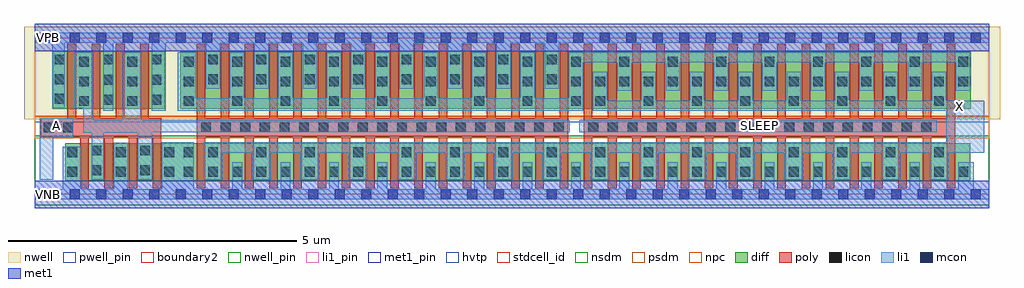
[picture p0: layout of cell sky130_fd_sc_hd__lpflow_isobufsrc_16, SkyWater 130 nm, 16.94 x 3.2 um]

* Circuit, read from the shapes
.subckt sky130_fd_sc_hd__lpflow_isobufsrc_16 A SLEEP VGND VNB VPB VPWR X
XM1 n1 A VGND VNB sky130_fd_pr__nfet_01v8 w=0.65 l=0.15 m=4
XM2 X n1 VGND VNB sky130_fd_pr__nfet_01v8 w=0.65 l=0.15 m=16
XM3 X SLEEP VGND VNB sky130_fd_pr__nfet_01v8 w=0.65 l=0.15 m=16
XM4 n1 A VPWR VPB sky130_fd_pr__pfet_01v8_hvt w=1 l=0.15 m=4
XM5 VPWR n1 n2 VPB sky130_fd_pr__pfet_01v8_hvt w=1 l=0.15 m=16
XM6 X SLEEP n2 VPB sky130_fd_pr__pfet_01v8_hvt w=1 l=0.15 m=16
.ends

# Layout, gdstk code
import gdstk
lib = gdstk.Library(unit=1e-6, precision=1e-09)
def R(c, l, rs):  # rectangles x0, y0, x1, y1
    for r in rs: c.add(gdstk.rectangle(r[:2], r[2:], *l))
def A(c, l, x, y, w, h, nx, ny, dx, dy):  # array of equal rectangles
    R(c, l, [(x+i*dx, y+j*dy, x+i*dx+w, y+j*dy+h) for i in range(nx) for j in range(ny)])
def P(c, l, *ps):  # polygons
    for p in ps: c.add(gdstk.Polygon(p, *l))
nwell_pin = (64, 16)
nwell = (64, 20)
diff = (65, 20)
poly = (66, 20)
licon = (66, 44)
li1_pin = (67, 16)
li1 = (67, 20)
mcon = (67, 44)
met1_pin = (68, 16)
met1 = (68, 20)
hvtp = (78, 44)
stdcell_id = (81, 4)
nsdm = (93, 44)
psdm = (94, 20)
npc = (95, 20)
pwell_pin = (122, 16)
boundary2 = (236, 0)

sky130_fd_sc_hd__lpflow_ = lib.new_cell('sky130_fd_sc_hd__lpflow_isobufsrc_16')
R(sky130_fd_sc_hd__lpflow_, nwell_pin, [(0.145,2.635,0.315,2.805)])
R(sky130_fd_sc_hd__lpflow_, nwell, [(-0.19,1.305,16.75,2.91)])
R(sky130_fd_sc_hd__lpflow_, diff, [(0.525,0.235,16.235,0.885), (0.305,1.485,2.255,2.485), (2.525,1.485,16.245,2.485)])
P(sky130_fd_sc_hd__lpflow_, poly, [(2.195,1.325),(1.975,1.325),(1.975,2.615),(1.825,2.615),(1.825,1.325),(1.555,1.325),(1.555,2.615),(1.405,2.615),(1.405,1.325),(1.135,1.325),(1.135,2.615),(0.985,2.615),(0.985,1.325),(0.715,1.325),(0.715,2.615),(0.565,2.615),(0.565,1.325),(0.105,1.325),(0.105,0.995),(0.785,0.995),(0.785,0.105),(0.935,0.105),(0.935,0.995),(1.205,0.995),(1.205,0.105),(1.355,0.105),(1.355,0.995),(1.625,0.995),(1.625,0.105),(1.775,0.105),(1.775,0.995),(2.045,0.995),(2.045,0.105),(2.195,0.105)],
  [(9.255,2.615),(9.105,2.615),(9.105,1.325),(8.835,1.325),(8.835,2.615),(8.685,2.615),(8.685,1.325),(8.415,1.325),(8.415,2.615),(8.265,2.615),(8.265,1.325),(7.995,1.325),(7.995,2.615),(7.845,2.615),(7.845,1.325),(7.575,1.325),(7.575,2.615),(7.425,2.615),(7.425,1.325),(7.155,1.325),(7.155,2.615),(7.005,2.615),(7.005,1.325),(6.735,1.325),(6.735,2.615),(6.585,2.615),(6.585,1.325),(6.315,1.325),(6.315,2.615),(6.165,2.615),(6.165,1.325),(5.895,1.325),(5.895,2.615),(5.745,2.615),(5.745,1.325),(5.475,1.325),(5.475,2.615),(5.325,2.615),(5.325,1.325),(5.055,1.325),(5.055,2.615),(4.905,2.615),(4.905,1.325),(4.635,1.325),(4.635,2.615),(4.485,2.615),(4.485,1.325),(4.215,1.325),(4.215,2.615),(4.065,2.615),(4.065,1.325),(3.795,1.325),(3.795,2.615),(3.645,2.615),(3.645,1.325),(3.375,1.325),(3.375,2.615),(3.225,2.615),(3.225,1.325),(2.955,1.325),(2.955,2.615),(2.805,2.615),(2.805,0.105),(2.955,0.105),(2.955,0.995),(3.225,0.995),(3.225,0.105),(3.375,0.105),(3.375,0.995),(3.645,0.995),(3.645,0.105),(3.795,0.105),(3.795,0.995),(4.065,0.995),(4.065,0.105),(4.215,0.105),(4.215,0.995),(4.485,0.995),(4.485,0.105),(4.635,0.105),(4.635,0.995),(4.905,0.995),(4.905,0.105),(5.055,0.105),(5.055,0.995),(5.325,0.995),(5.325,0.105),(5.475,0.105),(5.475,0.995),(5.745,0.995),(5.745,0.105),(5.895,0.105),(5.895,0.995),(6.165,0.995),(6.165,0.105),(6.315,0.105),(6.315,0.995),(6.585,0.995),(6.585,0.105),(6.735,0.105),(6.735,0.995),(7.005,0.995),(7.005,0.105),(7.155,0.105),(7.155,0.995),(7.425,0.995),(7.425,0.105),(7.575,0.105),(7.575,0.995),(7.845,0.995),(7.845,0.105),(7.995,0.105),(7.995,0.995),(8.265,0.995),(8.265,0.105),(8.415,0.105),(8.415,0.995),(8.685,0.995),(8.685,0.105),(8.835,0.105),(8.835,0.995),(9.105,0.995),(9.105,0.105),(9.255,0.105)],
  [(15.975,2.615),(15.825,2.615),(15.825,1.325),(15.555,1.325),(15.555,2.615),(15.405,2.615),(15.405,1.325),(15.135,1.325),(15.135,2.615),(14.985,2.615),(14.985,1.325),(14.715,1.325),(14.715,2.615),(14.565,2.615),(14.565,1.325),(14.295,1.325),(14.295,2.615),(14.145,2.615),(14.145,1.325),(13.875,1.325),(13.875,2.615),(13.725,2.615),(13.725,1.325),(13.455,1.325),(13.455,2.615),(13.305,2.615),(13.305,1.325),(13.035,1.325),(13.035,2.615),(12.885,2.615),(12.885,1.325),(12.615,1.325),(12.615,2.615),(12.465,2.615),(12.465,1.325),(12.195,1.325),(12.195,2.615),(12.045,2.615),(12.045,1.325),(11.775,1.325),(11.775,2.615),(11.625,2.615),(11.625,1.325),(11.355,1.325),(11.355,2.615),(11.205,2.615),(11.205,1.325),(10.935,1.325),(10.935,2.615),(10.785,2.615),(10.785,1.325),(10.515,1.325),(10.515,2.615),(10.365,2.615),(10.365,1.325),(10.095,1.325),(10.095,2.615),(9.945,2.615),(9.945,1.325),(9.675,1.325),(9.675,2.615),(9.525,2.615),(9.525,0.105),(9.675,0.105),(9.675,0.995),(9.945,0.995),(9.945,0.105),(10.095,0.105),(10.095,0.995),(10.365,0.995),(10.365,0.105),(10.515,0.105),(10.515,0.995),(10.785,0.995),(10.785,0.105),(10.935,0.105),(10.935,0.995),(11.205,0.995),(11.205,0.105),(11.355,0.105),(11.355,0.995),(11.625,0.995),(11.625,0.105),(11.775,0.105),(11.775,0.995),(12.045,0.995),(12.045,0.105),(12.195,0.105),(12.195,0.995),(12.465,0.995),(12.465,0.105),(12.615,0.105),(12.615,0.995),(12.885,0.995),(12.885,0.105),(13.035,0.105),(13.035,0.995),(13.305,0.995),(13.305,0.105),(13.455,0.105),(13.455,0.995),(13.725,0.995),(13.725,0.105),(13.875,0.105),(13.875,0.995),(14.145,0.995),(14.145,0.105),(14.295,0.105),(14.295,0.995),(14.565,0.995),(14.565,0.105),(14.715,0.105),(14.715,0.995),(14.985,0.995),(14.985,0.105),(15.135,0.105),(15.135,0.995),(15.405,0.995),(15.405,0.105),(15.555,0.105),(15.555,0.995),(15.825,0.995),(15.825,0.105),(15.975,0.105)])
A(sky130_fd_sc_hd__lpflow_, licon, 0.565, 0.305, 0.17, 0.17, 3, 2, 0.84, 0.34)
A(sky130_fd_sc_hd__lpflow_, licon, 2.585, 0.305, 0.17, 0.17, 33, 1, 0.42, 0)
A(sky130_fd_sc_hd__lpflow_, licon, 3.005, 0.645, 0.17, 0.17, 16, 1, 0.84, 0)
A(sky130_fd_sc_hd__lpflow_, licon, 2.885, 1.075, 0.17, 0.17, 19, 1, 0.34, 0)
A(sky130_fd_sc_hd__lpflow_, licon, 9.605, 1.075, 0.17, 0.17, 18, 1, 0.34, 0)
A(sky130_fd_sc_hd__lpflow_, licon, 0.765, 1.535, 0.17, 0.17, 1, 3, 0, 0.34)
A(sky130_fd_sc_hd__lpflow_, licon, 1.605, 1.535, 0.17, 0.17, 1, 3, 0, 0.34)
A(sky130_fd_sc_hd__lpflow_, licon, 2.585, 1.535, 0.17, 0.17, 9, 2, 0.84, 0.34)
A(sky130_fd_sc_hd__lpflow_, licon, 9.725, 1.535, 0.17, 0.17, 8, 1, 0.84, 0)
A(sky130_fd_sc_hd__lpflow_, licon, 9.725, 1.875, 0.17, 0.17, 16, 1, 0.42, 0)
A(sky130_fd_sc_hd__lpflow_, licon, 3.005, 1.915, 0.17, 0.17, 8, 2, 0.84, 0.34)
A(sky130_fd_sc_hd__lpflow_, licon, 2.585, 2.215, 0.17, 0.17, 17, 1, 0.84, 0)
A(sky130_fd_sc_hd__lpflow_, licon, 0.345, 2.255, 0.17, 0.17, 3, 1, 0.84, 0)
R(sky130_fd_sc_hd__lpflow_, licon, [(0.985,0.335,1.155,0.505), (1.825,0.335,1.995,0.505), (2.585,0.645,2.755,0.815), (0.985,0.675,1.155,0.845), (1.825,0.675,1.995,0.845), (0.155,1.075,0.325,1.245), (0.495,1.075,0.665,1.245), (1.185,1.555,1.355,1.725), (2.025,1.555,2.195,1.725), (0.345,1.575,0.515,1.745), (1.185,1.905,1.355,2.075), (2.025,1.905,2.195,2.075), (0.345,1.915,0.515,2.085)])
R(sky130_fd_sc_hd__lpflow_, li1_pin, [(0.295,1.105,0.465,1.275), (12.495,1.105,12.665,1.275), (15.97,1.445,16.14,1.615)])
R(sky130_fd_sc_hd__lpflow_, li1, [(9.45,1.075,15.65,1.285)])
P(sky130_fd_sc_hd__lpflow_, li1, [(0.665,1.325),(0.085,1.325),(0.085,0.255),(0.315,0.255),(0.315,0.995),(0.665,0.995)],
  [(9.28,1.285),(1.855,1.285),(1.855,2.465),(1.525,2.465),(1.525,1.285),(1.015,1.285),(1.015,2.465),(0.685,2.465),(0.685,1.495),(0.835,1.495),(0.835,1.065),(0.985,1.065),(0.985,0.255),(1.195,0.255),(1.195,1.065),(1.785,1.065),(1.785,0.255),(2.035,0.255),(2.035,1.075),(9.28,1.075)],
  [(16.235,2.465),(9.265,2.465),(9.265,1.665),(8.675,1.665),(8.675,2.465),(8.425,2.465),(8.425,1.665),(7.835,1.665),(7.835,2.465),(7.585,2.465),(7.585,1.665),(6.995,1.665),(6.995,2.465),(6.745,2.465),(6.745,1.665),(6.155,1.665),(6.155,2.465),(5.905,2.465),(5.905,1.665),(5.315,1.665),(5.315,2.465),(5.065,2.465),(5.065,1.665),(4.475,1.665),(4.475,2.465),(4.225,2.465),(4.225,1.665),(3.635,1.665),(3.635,2.465),(3.385,2.465),(3.385,1.665),(2.795,1.665),(2.795,2.465),(2.475,2.465),(2.475,1.455),(9.515,1.455),(9.515,2.295),(10.105,2.295),(10.105,1.795),(10.355,1.795),(10.355,2.295),(10.945,2.295),(10.945,1.795),(11.195,1.795),(11.195,2.295),(11.785,2.295),(11.785,1.795),(12.035,1.795),(12.035,2.295),(12.625,2.295),(12.625,1.795),(12.875,1.795),(12.875,2.295),(13.465,2.295),(13.465,1.795),(13.715,1.795),(13.715,2.295),(14.305,2.295),(14.305,1.795),(14.555,1.795),(14.555,2.295),(15.145,2.295),(15.145,1.795),(15.395,1.795),(15.395,2.295),(15.985,2.295),(15.985,1.795),(16.235,1.795)],
  [(16.56,2.805),(0,2.805),(0,2.635),(0.3,2.635),(0.3,1.495),(0.515,1.495),(0.515,2.635),(1.185,2.635),(1.185,1.455),(1.355,1.455),(1.355,2.635),(2.025,2.635),(2.025,1.455),(2.27,1.455),(2.27,2.635),(2.965,2.635),(2.965,1.835),(3.215,1.835),(3.215,2.635),(3.805,2.635),(3.805,1.835),(4.055,1.835),(4.055,2.635),(4.645,2.635),(4.645,1.835),(4.895,1.835),(4.895,2.635),(5.485,2.635),(5.485,1.835),(5.735,1.835),(5.735,2.635),(6.325,2.635),(6.325,1.835),(6.575,1.835),(6.575,2.635),(7.165,2.635),(7.165,1.835),(7.415,1.835),(7.415,2.635),(8.005,2.635),(8.005,1.835),(8.255,1.835),(8.255,2.635),(8.845,2.635),(8.845,1.835),(9.095,1.835),(9.095,2.635),(16.56,2.635)],
  [(16.56,0.085),(16.295,0.085),(16.295,0.555),(16.025,0.555),(16.025,0.085),(15.355,0.085),(15.355,0.555),(15.185,0.555),(15.185,0.085),(14.515,0.085),(14.515,0.555),(14.345,0.555),(14.345,0.085),(13.675,0.085),(13.675,0.555),(13.505,0.555),(13.505,0.085),(12.835,0.085),(12.835,0.555),(12.665,0.555),(12.665,0.085),(11.995,0.085),(11.995,0.555),(11.825,0.555),(11.825,0.085),(11.155,0.085),(11.155,0.555),(10.985,0.555),(10.985,0.085),(10.315,0.085),(10.315,0.555),(10.145,0.555),(10.145,0.085),(9.475,0.085),(9.475,0.555),(9.305,0.555),(9.305,0.085),(8.635,0.085),(8.635,0.555),(8.465,0.555),(8.465,0.085),(7.795,0.085),(7.795,0.555),(7.625,0.555),(7.625,0.085),(6.955,0.085),(6.955,0.555),(6.785,0.555),(6.785,0.085),(6.115,0.085),(6.115,0.555),(5.945,0.555),(5.945,0.085),(5.275,0.085),(5.275,0.555),(5.105,0.555),(5.105,0.085),(4.435,0.085),(4.435,0.555),(4.265,0.555),(4.265,0.085),(3.595,0.085),(3.595,0.555),(3.425,0.555),(3.425,0.085),(2.755,0.085),(2.755,0.905),(2.205,0.905),(2.205,0.085),(1.615,0.085),(1.615,0.895),(1.365,0.895),(1.365,0.085),(0.815,0.085),(0.815,0.825),(0.485,0.825),(0.485,0.085),(0,0.085),(0,-0.085),(16.56,-0.085)],
  [(16.475,1.625),(15.815,1.625),(15.815,2.125),(15.565,2.125),(15.565,1.625),(14.975,1.625),(14.975,2.125),(14.725,2.125),(14.725,1.625),(14.135,1.625),(14.135,2.125),(13.885,2.125),(13.885,1.625),(13.295,1.625),(13.295,2.125),(13.045,2.125),(13.045,1.625),(12.455,1.625),(12.455,2.125),(12.205,2.125),(12.205,1.625),(11.615,1.625),(11.615,2.125),(11.365,2.125),(11.365,1.625),(10.775,1.625),(10.775,2.125),(10.525,2.125),(10.525,1.625),(9.935,1.625),(9.935,2.125),(9.685,2.125),(9.685,1.455),(15.82,1.455),(15.82,0.905),(2.925,0.905),(2.925,0.255),(3.255,0.255),(3.255,0.725),(3.765,0.725),(3.765,0.255),(4.095,0.255),(4.095,0.725),(4.605,0.725),(4.605,0.255),(4.935,0.255),(4.935,0.725),(5.445,0.725),(5.445,0.255),(5.775,0.255),(5.775,0.725),(6.285,0.725),(6.285,0.255),(6.615,0.255),(6.615,0.725),(7.125,0.725),(7.125,0.255),(7.455,0.255),(7.455,0.725),(7.965,0.725),(7.965,0.255),(8.295,0.255),(8.295,0.725),(8.805,0.725),(8.805,0.255),(9.135,0.255),(9.135,0.725),(9.645,0.725),(9.645,0.255),(9.975,0.255),(9.975,0.725),(10.485,0.725),(10.485,0.255),(10.815,0.255),(10.815,0.725),(11.325,0.725),(11.325,0.255),(11.655,0.255),(11.655,0.725),(12.165,0.725),(12.165,0.255),(12.495,0.255),(12.495,0.725),(13.005,0.725),(13.005,0.255),(13.335,0.255),(13.335,0.725),(13.845,0.725),(13.845,0.255),(14.175,0.255),(14.175,0.725),(14.685,0.725),(14.685,0.255),(15.015,0.255),(15.015,0.725),(15.525,0.725),(15.525,0.255),(15.855,0.255),(15.855,0.725),(16.475,0.725)])
A(sky130_fd_sc_hd__lpflow_, mcon, 0.145, -0.085, 0.17, 0.17, 36, 2, 0.46, 2.72)
R(sky130_fd_sc_hd__lpflow_, met1_pin, [(0.145,-0.085,0.315,0.085), (0.145,2.635,0.315,2.805)])
R(sky130_fd_sc_hd__lpflow_, hvtp, [(0,1.25,16.56,2.72)])
R(sky130_fd_sc_hd__lpflow_, stdcell_id, [(0,0,16.56,2.72)])
R(sky130_fd_sc_hd__lpflow_, nsdm, [(0,-0.19,16.56,1.015)])
R(sky130_fd_sc_hd__lpflow_, psdm, [(0,1.355,16.56,2.91)])
R(sky130_fd_sc_hd__lpflow_, npc, [(0,0.975,16.56,1.345)])
R(sky130_fd_sc_hd__lpflow_, pwell_pin, [(0.145,-0.085,0.315,0.085)])
R(sky130_fd_sc_hd__lpflow_, boundary2, [(0,0,16.56,2.72)])
sky130_fd_sc_hd__lpflow_.add(gdstk.FlexPath([(0,2.72),(16.56,2.72)], 0.48, ends="flush", simple_path=True, layer=68, datatype=20))  # met1
sky130_fd_sc_hd__lpflow_.add(gdstk.FlexPath([(0,0),(16.56,0)], 0.48, ends="flush", simple_path=True, layer=68, datatype=20))  # met1
sky130_fd_sc_hd__lpflow_.add(gdstk.Label('A', (0.38,1.19), layer=67, texttype=5))
sky130_fd_sc_hd__lpflow_.add(gdstk.Label('X', (16.055,1.53), layer=67, texttype=5))
sky130_fd_sc_hd__lpflow_.add(gdstk.Label('SLEEP', (12.58,1.19), layer=67, texttype=5))
sky130_fd_sc_hd__lpflow_.add(gdstk.Label('VPB', (0.23,2.72), layer=64, texttype=5))
sky130_fd_sc_hd__lpflow_.add(gdstk.Label('VNB', (0.23,0), layer=64, texttype=59))
sky130_fd_sc_hd__lpflow_.add(gdstk.Label('VGND', (0.23,0), layer=68, texttype=5))
sky130_fd_sc_hd__lpflow_.add(gdstk.Label('VPWR', (0.23,2.72), layer=68, texttype=5))
sky130_fd_sc_hd__lpflow_.add(gdstk.Label('lpflow_isobufsrc_16', (0,0), layer=83, texttype=44))

lib.write_gds('sky130_fd_sc_hd__lpflow_isobufsrc_16.gds')
